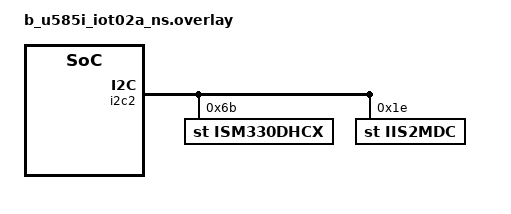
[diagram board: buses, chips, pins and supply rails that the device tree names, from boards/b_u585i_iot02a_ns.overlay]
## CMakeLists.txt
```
cmake_minimum_required(VERSION 3.13.1)
find_package(Zephyr REQUIRED HINTS $ENV{ZEPHYR_BASE})
project(step_foc)

target_sources(app PRIVATE src/main.c)
target_sources(app PRIVATE src/fusion_nodes.c)
target_sources(app PRIVATE src/imu_data_producer.c)
target_sources(app PRIVATE src/zsl_fusion_config.c)
```

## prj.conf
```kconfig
CONFIG_PRINTK=y
CONFIG_SERIAL=y
CONFIG_CBPRINTF_FP_SUPPORT=y

CONFIG_SHELL=y
CONFIG_SHELL_HISTORY=y
CONFIG_SHELL_VT100_COLORS=y

CONFIG_LOG=y
CONFIG_LOG_DEFAULT_LEVEL=4

CONFIG_STEP=y
CONFIG_STEP_PROC_MGR_STACK_SIZE=16384

# Sets the I2C plus sensor subsystem
CONFIG_I2C=y
CONFIG_I2C_SHELL=y
CONFIG_SHELL=y
CONFIG_SENSOR=y

# For the zephyr scientific library
CONFIG_ZSL=y
CONFIG_FPU=y
CONFIG_NEWLIB_LIBC=y
```

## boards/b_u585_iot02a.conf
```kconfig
CONFIG_ISM330DHCX=y
```

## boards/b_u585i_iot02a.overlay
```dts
/*
 * SPDX-License-Identifier: Apache-2.0
 *
 * Copyright (c) 2022 Linaro
 */

&i2c2 {
	status = "okay";

	board_imu: ism330dhcx@6b {
		compatible = "st,ism330dhcx";
		reg = <0x6B>;
		label = "ISM330DHCX";
	};
};
```

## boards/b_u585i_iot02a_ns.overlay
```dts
/*
 * SPDX-License-Identifier: Apache-2.0
 *
 * Copyright (c) 2022 Linaro
 */

&i2c2 {
	status = "okay";

	board_imu: ism330dhcx@6b {
		compatible = "st,ism330dhcx";
		reg = <0x6B>;
		label = "ISM330DHCX";
	};

	board_mag: iis2mdc@1e {
		compatible = "st,iis2mdc";
		reg = <0x1E>;
		label = "IIS2MDC";
	};
};
```

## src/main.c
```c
/*
 * Copyright (c) 2022 Linaro
 *
 * SPDX-License-Identifier: Apache-2.0
 */

#include <zephyr/kernel.h>
#include <stdlib.h>
#include <string.h>
#include <step/step.h>
#include <step/proc_mgr.h>
#include <step/sample_pool.h>
#include <zephyr/shell/shell.h>
#include "fusion_nodes.h"
#include "imu_data_producer.h"
#include "zsl_fusion_config.h"

static struct imu_data_payload raw;
static bool enable_stream = false;

static void stream_end(struct k_timer *t) 
{
	enable_stream = false;
}

static void stream_stop(struct k_timer *t) 
{
	
}

K_TIMER_DEFINE(stream_timer, stream_end, stream_stop);

void on_imu_data_production(struct imu_data_payload *imu)
{
	struct step_measurement *imu_measurement = step_sp_alloc(sizeof(*imu));

	if(imu_measurement == NULL) {
		printk("Warning, no memory available from sample pool! \n");
		return;
	}

	imu->streamable = enable_stream;
	imu_measurement->payload = imu;

	/* fill measurements information before publishing: */
	imu_measurement->header.filter_bits = imu_measurement_header.filter_bits;
	imu_measurement->header.unit_bits = imu_measurement_header.unit_bits;
	imu_measurement->header.srclen_bits = imu_measurement_header.srclen_bits;

	/* make a copy of the IMU incoming data for shelll presentation: */
	memcpy(&raw, imu, sizeof(raw));

	/* publish sensor measurement to be processed by the waiters */
	step_pm_put(imu_measurement);	
}

static int step_fusion_cmd_imu(const struct shell *shell, size_t argc, char **argv)
{
	shell_print(shell,
			"Accelerometer[m/s^2] x = %10.6f y = %10.6f z = %10.6f\n\rGyroscope[rad/s] x = %10.6f y = %10.6f z = %10.6f\n\rMagnetometer[uT] x = %10.6f y = %10.6f z = %10.6f \n\r",
			raw.imu_accel_x,
			raw.imu_accel_y,
			raw.imu_accel_z,
			raw.imu_gyro_x,
			raw.imu_gyro_y,
			raw.imu_gyro_z,
			raw.imu_mag_x,
			raw.imu_mag_y,
			raw.imu_mag_z);

	return 0;
}

static int step_fusion_cmd_euler(const struct shell *shell, size_t argc, char **argv)
{
	shell_print(shell,
			"Euler angles x = %10.6f[d] y = %10.6f[d]",
			fusion_node_result.x * 180 / ZSL_PI,
			fusion_node_result.y * 180 / ZSL_PI);

	return 0;
}

static int step_fusion_cmd_set(const struct shell *shell, size_t argc, char **argv)
{
	if (argc != 3) {
		return -EINVAL;
	}

	mahn_cfg.kp = (zsl_real_t)strtof(argv[1], NULL);
	mahn_cfg.ki = (zsl_real_t)strtof(argv[2], NULL);

	return 0;
}

static int step_fusion_cmd_stream(const struct shell *shell, size_t argc, char **argv)
{
	int stream_time = 0; 

	if ((argc == 1) || (strcmp(argv[1], "help") == 0) || argc > 2) {
		shell_print(shell, "Starts streaming orientation data.\n");
		shell_print(shell, "  $ %s %s <timeout_s>\n", argv[-1], argv[0]);
		shell_print(shell, "  <timeout_s> Time to stream in seconds. 0 = non-stop.\n");
		shell_print(shell, "Example: %s %s 10", argv[-1], argv[0]);
		return 0;
	}

	// Get timeout
	stream_time = strtol(argv[1], NULL, 10) * 1000;
	if(stream_time < 0) {
		shell_print(shell, "Invalid timeout_s: %d", stream_time / 1000);
		return -EINVAL;
	}

	// Enable stream
	enable_stream = true;
	
	// Start the timer if time isn't infinite (0)
	if (stream_time) {
		k_timer_start(&stream_timer, K_MSEC(stream_time), K_MSEC(0));
	}

	return 0;
}

static int step_fusion_cmd_calibrate(const struct shell *shell, size_t argc, char **argv)
{
	imu_producer_calibrate();
	return 0;
}

void main(void)
{	
	int rc = 0;
	uint32_t handle;

	/* register the fusion processing pipeline first*/
	rc = step_pm_register(fusion_node_chain, 0, &handle);
	if (rc) {
		printk("Node registration failed!\n");
		return;
	}

	/* then start the imu data producer */
	rc = imu_producer_start(on_imu_data_production);
	if (rc) {
		printk("Node registration failed!\n");
		return;
	}
}

/* Subcommand array for "step_fusion" (level 1). */
SHELL_STATIC_SUBCMD_SET_CREATE(
	sub_step_fusion,
	SHELL_CMD(euler, NULL, "Prints sensor fusion result in euler angles in degress", step_fusion_cmd_euler),
	SHELL_CMD(imu, NULL, "Prints raw sensor data", step_fusion_cmd_imu),
	SHELL_CMD(calibrate, NULL, "Calibrates the IMU sensor", step_fusion_cmd_calibrate),
	SHELL_CMD(set_mahoney, NULL, "Sets Mahoney filter kp and ki", step_fusion_cmd_set),
	SHELL_CMD(stream, NULL, "Streams orientation data", step_fusion_cmd_stream),
	SHELL_SUBCMD_SET_END
	);

/* Root command "step_foc" (level 0). */
SHELL_CMD_REGISTER(step_fusion, &sub_step_fusion, "Secure telemetry pipeline fusion sample commands", NULL);
```

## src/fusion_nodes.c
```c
/*
 * Copyright (c) 2022 Linaro
 *
 * SPDX-License-Identifier: Apache-2.0
 */

#include <zephyr/kernel.h>
#include <stdio.h>
#include <zephyr/logging/log.h>
#include <step/proc_mgr.h>
#include "imu_data_producer.h"
#include "zsl_fusion_config.h"

struct zsl_euler fusion_node_result = { 0 };

int fusion_do_process(struct step_measurement *mes, uint32_t handle, uint32_t inst)
{
	struct zsl_quat q = { .r = 1.0, .i = 0.0, .j = 0.0, .k = 0.0 };
	struct imu_data_payload *imu = mes->payload;

	ZSL_VECTOR_DEF(av, 3);
	ZSL_VECTOR_DEF(gv, 3);

	zsl_vec_init(&av);
	zsl_vec_init(&gv);

	av.data[0] = imu->imu_accel_x;
	av.data[1] = imu->imu_accel_y;
	av.data[2] = imu->imu_accel_z;

	gv.data[0] = imu->imu_gyro_x;
	gv.data[1] = imu->imu_gyro_y;
	gv.data[2] = imu->imu_gyro_z;

	fusion_driver.feed_handler(&av,
							NULL,
							&gv,
							NULL,
							&q, 
							fusion_driver.config);

	zsl_quat_to_euler(&q, &fusion_node_result);
	return 0;
}

int fusion_do_streaming(struct step_measurement *mes, uint32_t handle, uint32_t inst)
{
	/* just printk over the serial port */
	struct imu_data_payload *imu = mes->payload;

	/* also reduce the streaming rate for better visualization */
	if(imu->streamable && ((imu->timestamp % 10) == 0)) {
		printk("%d\t%f\t%f\n",
			imu->timestamp,
			fusion_node_result.x * 180 / ZSL_PI ,
			fusion_node_result.y * 180 / ZSL_PI);
	}
	
	return 0;
}

/* Processor node chain. */
struct step_node fusion_node_chain_data[] = {
	/* Root processor node. */
	{
		.name = "Root sensor sample processor node",
		.filters = {
			.count = 1,
			.chain = (struct step_filter[]){
				{
					/* Phase (base type). */
					.match = STEP_MES_TYPE_ORIENTATION,
					.ignore_mask = ~STEP_MES_MASK_FULL_TYPE,
				}
			},
		},

		/* Callbacks */
		.callbacks = {
			.exec_handler = fusion_do_process,
		},

		/* Config settings */
		.config = NULL,

		/* Point to next processor node in chain. */
		.next = &fusion_node_chain_data[1],
	},
	{
		.name = "IMU streaming node",
		/* Callbacks */
		.callbacks = {
			.exec_handler = fusion_do_streaming,
		},

		/* Config settings */
		.config = NULL,

		/* End of the chain. */
		.next = NULL
	},
};

/* Pointer to node chain. */
struct step_node *fusion_node_chain = fusion_node_chain_data;
```

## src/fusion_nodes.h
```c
/*
 * Copyright (c) 2022 Linaro
 *
 * SPDX-License-Identifier: Apache-2.0
 */

#ifndef FUSION_NODES_H__
#define FUSION_NODES_H__

#include <stdlib.h>
#include <stdbool.h>
#include <step/step.h>
#include <step/node.h>
#include <step/measurement/measurement.h>

#include <zsl/zsl.h>
#include <zsl/orientation/fusion/fusion.h>
#include <zsl/orientation/orientation.h>

#ifdef __cplusplus
extern "C" {
#endif

extern struct zsl_euler fusion_node_result;
extern struct step_node *fusion_node_chain;

#ifdef __cplusplus
}
#endif

#endif /* STEP_SHELL_NODES_H_ */
```

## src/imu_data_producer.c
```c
/*
 * Copyright (c) 2022 Linaro
 *
 * SPDX-License-Identifier: Apache-2.0
 */
#include <zephyr/kernel.h>
#include <zephyr/device.h>
#include <zephyr/drivers/sensor.h>
#include <zephyr/logging/log.h>
#include "imu_data_producer.h"
#include "zsl_fusion_config.h"

LOG_MODULE_REGISTER(imu_data_producer);

static const struct device *imu_dev = DEVICE_DT_GET(DT_NODELABEL(board_imu));
static const struct device *mag_dev = DEVICE_DT_GET(DT_NODELABEL(board_mag));
static bool imu_calibrated = false;
static fusion_sensor_data_callback_t imu_user_callback = NULL;
ZSL_VECTOR_DEF(gyro_offset_correcton, 3);

/* create the imu measurement header */
const struct step_mes_header imu_measurement_header = {
	/* Filter word. */
	.filter = {
		.base_type = STEP_MES_TYPE_ORIENTATION,
		.flags = {
			.timestamp = STEP_MES_TIMESTAMP_UPTIME_MS_32,
		},
	},
	/* SI Unit word. */
	.unit = {
		.si_unit = STEP_MES_UNIT_SI_RADIAN,
		.ctype = STEP_MES_UNIT_CTYPE_IEEE754_FLOAT32,
		.scale_factor = STEP_MES_SI_SCALE_NONE,
	},
	/* Source/Len word. */
	.srclen = {
		.len = sizeof(struct imu_data_payload),
		.vec_sz = 3,
		.sourceid = 2,
	}
};

/* imu measurement thread. */
static void imu_sample_thread(void *arg);
K_THREAD_DEFINE(imu_sample_tid, 8192, imu_sample_thread, NULL, NULL, NULL, 1, 0, 0);

static inline float imu_zephyr_sensor_to_float(struct sensor_value *val)
{
	return (float)val->val1 + (float)val->val2 / 1000000;
}

static void imu_fetch_data(struct imu_data_payload *imu)
{
	struct sensor_value x, y, z;

	/* float data is more convenient to deal with fusion
		* processing, so after fetching, map the sensor data
		* to float
		*/
	sensor_sample_fetch_chan(imu_dev, SENSOR_CHAN_ACCEL_XYZ);
	sensor_channel_get(imu_dev, SENSOR_CHAN_ACCEL_X, &x);
	sensor_channel_get(imu_dev, SENSOR_CHAN_ACCEL_Y, &y);
	sensor_channel_get(imu_dev, SENSOR_CHAN_ACCEL_Z, &z);

	imu->imu_accel_x = imu_zephyr_sensor_to_float(&x);
	imu->imu_accel_y = imu_zephyr_sensor_to_float(&y);
	imu->imu_accel_z = imu_zephyr_sensor_to_float(&z);

	sensor_sample_fetch_chan(imu_dev, SENSOR_CHAN_GYRO_XYZ);
	sensor_channel_get(imu_dev, SENSOR_CHAN_GYRO_X, &x);
	sensor_channel_get(imu_dev, SENSOR_CHAN_GYRO_Y, &y);
	sensor_channel_get(imu_dev, SENSOR_CHAN_GYRO_Z, &z);

	imu->imu_gyro_x = imu_zephyr_sensor_to_float(&x);
	imu->imu_gyro_y = imu_zephyr_sensor_to_float(&y);
	imu->imu_gyro_z = imu_zephyr_sensor_to_float(&z);

	sensor_sample_fetch_chan(mag_dev, SENSOR_CHAN_MAGN_XYZ);
	sensor_channel_get(mag_dev, SENSOR_CHAN_MAGN_X, &x);
	sensor_channel_get(mag_dev, SENSOR_CHAN_MAGN_Y, &y);
	sensor_channel_get(mag_dev, SENSOR_CHAN_MAGN_Z, &z);

	imu->imu_mag_x = imu_zephyr_sensor_to_float(&x) * 0.01;
	imu->imu_mag_y = imu_zephyr_sensor_to_float(&y) * 0.01;
	imu->imu_mag_z = imu_zephyr_sensor_to_float(&z) * 0.01;

	imu->timestamp = k_uptime_get_32();

	/* mag plus gyro were calibrated, so correct them */
	if(imu_calibrated) {
		ZSL_VECTOR_DEF(gyro_sample, 3);

		/* correct the gyro samples */
		gyro_sample.data[0] = imu->imu_gyro_x;
		gyro_sample.data[1] = imu->imu_gyro_y;
		gyro_sample.data[2] = imu->imu_gyro_z;

		gyro_sample.data[0] -= gyro_offset_correcton.data[0];
		gyro_sample.data[1] -= gyro_offset_correcton.data[1];
		gyro_sample.data[2] -= gyro_offset_correcton.data[2];

		imu->imu_gyro_x = gyro_sample.data[0];
		imu->imu_gyro_y = gyro_sample.data[1];
		imu->imu_gyro_z = gyro_sample.data[2];

	}
}

static void imu_set_data_rate(void) 
{
    int rc = 0;
	struct sensor_value odr_attr;

    /* sets the output data rate to 100Hz */
	odr_attr.val1 = 104;
	odr_attr.val2 = 0;

	rc = sensor_attr_set(imu_dev, SENSOR_CHAN_ACCEL_XYZ,
			SENSOR_ATTR_SAMPLING_FREQUENCY, &odr_attr);
	if (rc != 0) {
		printk("Cannot set sampling frequency for accelerometer.\n");
	}

	rc = sensor_attr_set(imu_dev, SENSOR_CHAN_GYRO_XYZ,
			SENSOR_ATTR_SAMPLING_FREQUENCY, &odr_attr);
	if (rc != 0) {
		printk("Cannot set sampling frequency for gyro.\n");
	}

    /* sets the output data rate to 100Hz */
	odr_attr.val1 = 100;
	odr_attr.val2 = 0;

	rc = sensor_attr_set(mag_dev, SENSOR_CHAN_MAGN_XYZ,
			SENSOR_ATTR_SAMPLING_FREQUENCY, &odr_attr);
	if (rc != 0) {
		printk("Cannot set sampling frequency for gyro.\n");
	}
}

static void imu_sample_thread(void *arg) 
{
    struct imu_data_payload measurement;

    imu_set_data_rate();
	imu_producer_calibrate();

    for(;;) {
        imu_fetch_data(&measurement);
        
        /* defer the measured data to the application callback*/
        if(imu_user_callback) {
            imu_user_callback(&measurement);
        }

		k_sleep(K_MSEC(10));
    }
}

int imu_producer_start(fusion_sensor_data_callback_t cb)
{
	while(!imu_calibrated) {
		k_sleep(K_MSEC(1));
	}

    imu_user_callback = cb;
    return 0;
}

void imu_producer_calibrate(void)
{
	ZSL_VECTOR_DEF(gyro_sample, 3);
	struct imu_data_payload imu;

	imu_calibrated = false;

	LOG_INF("Calibrating gyro, please place the board in flat surface and wait up 5 seconds!");
	k_sleep(K_MSEC(2));

	zsl_vec_init(&gyro_sample);

	/* takes up 2 seconds of gyro samples in standstill */
	for(int i = 0; i < 200; i++) {

		imu_fetch_data(&imu);
		gyro_sample.data[0] += imu.imu_gyro_x;
		gyro_sample.data[1] += imu.imu_gyro_y;
		gyro_sample.data[2] += imu.imu_gyro_z;
		k_sleep(K_MSEC(10));
	}

	/* compute the mean of each component */
	zsl_vec_scalar_div(&gyro_sample, 200.);

	/* sets the offset correction vector */
	zsl_vec_copy(&gyro_offset_correcton, &gyro_sample);

	LOG_INF("Gyro offset correction vector: %f, %f, %f",
		gyro_sample.data[0],
		gyro_sample.data[1],
		gyro_sample.data[2]);

	fusion_driver.init_handler(104, fusion_driver.config);

	imu_calibrated = true;
}
```

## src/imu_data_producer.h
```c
/*
 * Copyright (c) 2022 Linaro
 *
 * SPDX-License-Identifier: Apache-2.0
 */

#ifndef FUSION_DATA_PRODUCER_H__
#define FUSION_DATA_PRODUCER_H__

#ifdef __cplusplus
extern "C" {
#endif

#include <zephyr.h>
#include <stdlib.h>
#include <stdbool.h>
#include <step/step.h>
#include <step/measurement/measurement.h>
#include <step/measurement/ext_orientation.h>
#include <zsl/zsl.h>
#include <zsl/orientation/fusion/calibration.h>

struct imu_data_payload {
    uint32_t timestamp;
    bool streamable;

    float imu_accel_x;
    float imu_accel_y;
    float imu_accel_z;

    float imu_gyro_x;
    float imu_gyro_y;
    float imu_gyro_z;

    float imu_mag_x;
    float imu_mag_y;
    float imu_mag_z;
};

typedef void (*fusion_sensor_data_callback_t) (struct imu_data_payload *imu);

/**
 * @brief Initializes the imu data producer.
 * 
 * @param cb user callback to be executed each new imu data arrival.
 * 
 * @return int  0 on success, otherwise a negative error code.
 * 
 */
int imu_producer_start(fusion_sensor_data_callback_t cb);

/**
 * @brief Perofms the imu sensor calibration.
 */

void imu_producer_calibrate(void);

/**
 * @brief Pre-populated measurement header to copy into allocated measurements.
 */
extern const struct step_mes_header imu_measurement_header;

#ifdef __cplusplus
}
#endif
#endif
```

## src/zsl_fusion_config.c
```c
/*
 * Copyright (c) 2022 Linaro
 *
 * SPDX-License-Identifier: Apache-2.0
 */

#include "zsl_fusion_config.h"

static zsl_real_t _mahn_intfb[3] = { 0.0, 0.0, 0.0 };
struct zsl_fus_mahn_cfg mahn_cfg = {
	.kp = 200,
	.ki = 0.00200,
	.intfb = {
		.sz = 3,
		.data = _mahn_intfb,
	},
};

const struct zsl_fus_drv fusion_driver = {
	.init_handler = zsl_fus_mahn_init,
	.feed_handler = zsl_fus_mahn_feed,
	.error_handler = zsl_fus_mahn_error,
	.config = &mahn_cfg,
};
```
